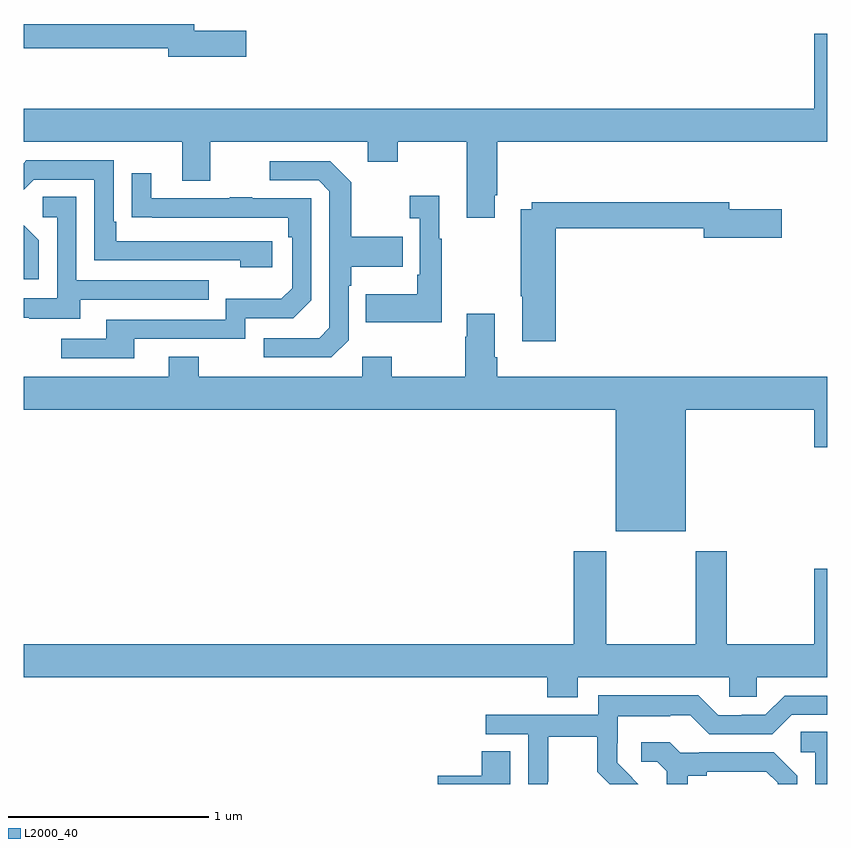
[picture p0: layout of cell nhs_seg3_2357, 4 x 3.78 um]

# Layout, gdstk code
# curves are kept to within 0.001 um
import gdstk
lib = gdstk.Library(unit=1e-6, precision=1e-09)
def P(c, l, *ps):  # polygons
    for p in ps: c.add(gdstk.Polygon(p, *l))
L2000_40 = (2000, 40)

nhs_seg3_2357 = lib.new_cell('nhs_seg3_2357')
P(nhs_seg3_2357, L2000_40, [(234.109,688.149),(233.848,688.149),(233.848,688.183),(233,688.183),(233,688.062),(233.72,688.062),(233.72,688.019),(234.109,688.019)],
  [(235.345,687.331),(235.358,687.331),(235.358,687.596),(237,687.596),(237,688.135),(236.936,688.135),(236.936,687.76),(233,687.76),(233,687.596),(233.789,687.596),(233.789,687.402),(233.929,687.402),(233.929,687.596),(234.713,687.596),(234.713,687.497),(234.861,687.497),(234.861,687.596),(235.205,687.596),(235.205,687.219),(235.345,687.219)],
  [(234.238,687.102),(233.461,687.102),(233.461,687.199),(233.448,687.199),(233.448,687.504),(233.013,687.504),(233,687.491),(233,687.359),(233.049,687.408),(233.352,687.408),(233.352,687.006),(234.077,687.006),(234.077,686.972),(234.238,686.972)],
  [(234.618,686.61),(234.618,686.879),(234.631,686.879),(234.631,686.975),(234.887,686.975),(234.887,687.123),(234.631,687.123),(234.631,687.395),(234.525,687.501),(234.225,687.501),(234.225,687.405),(234.468,687.405),(234.522,687.351),(234.522,686.67),(234.471,686.619),(234.195,686.619),(234.195,686.523),(234.531,686.523)],
  [(233.551,686.616),(234.102,686.616),(234.102,686.718),(234.342,686.718),(234.432,686.808),(234.432,687.315),(234.137,687.315),(234.137,687.32),(234.025,687.32),(234.025,687.315),(233.635,687.315),(233.635,687.439),(233.539,687.439),(233.539,687.22),(234.316,687.219),(234.316,687.122),(234.336,687.122),(234.336,686.868),(234.283,686.815),(234.006,686.815),(234.006,686.712),(233.411,686.712),(233.411,686.616),(233.187,686.616),(233.187,686.52),(233.551,686.52)],
  [(235.081,687.115),(235.069,687.115),(235.069,687.328),(234.921,687.328),(234.921,687.215),(234.972,687.215),(234.972,686.935),(234.96,686.935),(234.96,686.839),(234.703,686.839),(234.703,686.699),(235.081,686.699)],
  [(233.281,686.811),(233.921,686.811),(233.921,686.907),(233.262,686.907),(233.262,687.323),(233.094,687.323),(233.094,687.222),(233.166,687.222),(233.166,686.817),(233,686.817),(233,686.721),(233.027,686.721),(233.027,686.717),(233.281,686.717)],
  [(235.649,687.166),(236.384,687.166),(236.384,687.119),(236.773,687.119),(236.773,687.261),(236.512,687.261),(236.512,687.295),(235.53,687.295),(235.53,687.262),(235.474,687.262),(235.474,686.827),(235.481,686.827),(235.481,686.604),(235.649,686.604)],
  [(233.076,687.106),(233,687.182),(233,686.913),(233.076,686.913)],
  [(236.296,686.264),(236.936,686.264),(236.936,686.076),(237,686.076),(237,686.428),(235.358,686.428),(235.358,686.524),(235.345,686.524),(235.345,686.74),(235.205,686.74),(235.205,686.627),(235.198,686.627),(235.198,686.428),(234.831,686.428),(234.831,686.527),(234.684,686.527),(234.684,686.428),(233.871,686.428),(233.871,686.527),(233.723,686.527),(233.723,686.428),(233,686.428),(233,686.264),(235.946,686.264),(235.946,685.658),(236.296,685.658)],
  [(235.759,684.932),(236.511,684.932),(236.511,684.834),(236.649,684.834),(236.649,684.932),(237,684.932),(237,685.471),(236.936,685.471),(236.936,685.096),(236.499,685.096),(236.499,685.558),(236.344,685.558),(236.344,685.096),(235.899,685.096),(235.899,685.558),(235.739,685.558),(235.739,685.096),(233,685.096),(233,684.932),(235.607,684.932),(235.607,684.833),(235.759,684.833)],
  [(235.608,684.412),(235.611,684.412),(235.611,684.636),(235.855,684.636),(235.855,684.461),(235.916,684.4),(236.058,684.4),(235.954,684.506),(235.954,684.603),(235.956,684.603),(235.956,684.737),(236.219,684.737),(236.219,684.741),(236.319,684.741),(236.412,684.648),(236.727,684.648),(236.823,684.744),(237,684.744),(237,684.84),(236.787,684.84),(236.691,684.744),(236.573,684.744),(236.573,684.741),(236.457,684.741),(236.357,684.841),(235.86,684.841),(235.86,684.744),(235.299,684.744),(235.299,684.648),(235.512,684.648),(235.512,684.4),(235.608,684.4)],
  [(237,684.659),(236.868,684.659),(236.868,684.558),(236.94,684.558),(236.94,684.4),(237,684.4)],
  [(236.305,684.44),(236.401,684.44),(236.401,684.462),(236.696,684.462),(236.753,684.405),(236.753,684.4),(236.85,684.4),(236.85,684.442),(236.734,684.558),(236.362,684.558),(236.362,684.555),(236.268,684.555),(236.216,684.607),(236.073,684.607),(236.073,684.51),(236.154,684.51),(236.201,684.463),(236.201,684.4),(236.305,684.4)],
  [(235.423,684.563),(235.28,684.563),(235.28,684.44),(235.062,684.44),(235.062,684.4),(235.423,684.4)])

lib.write_gds('nhs_seg3_2357.gds')
